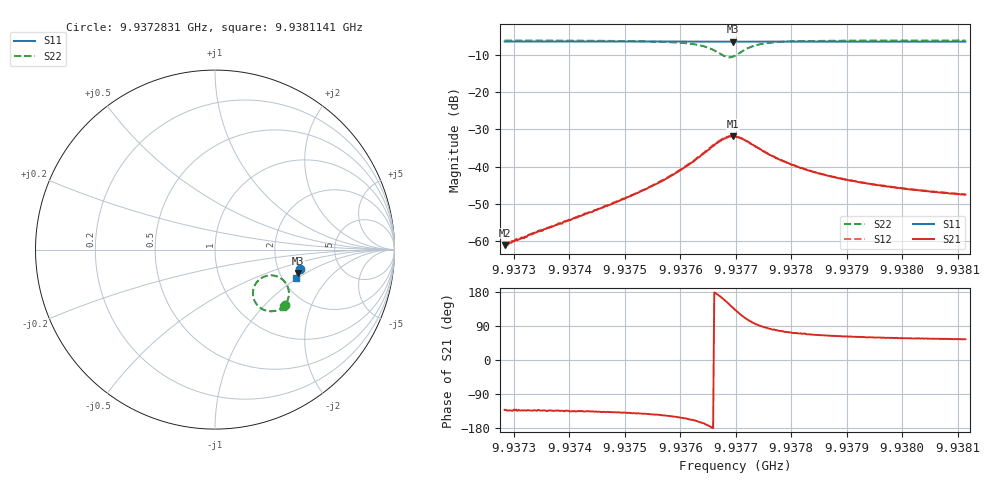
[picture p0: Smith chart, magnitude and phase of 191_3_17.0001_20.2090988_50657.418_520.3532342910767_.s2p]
#  HZ  S  RI  R  50.00
! Rohde & Schwarz Vector Network Analyzer
! Rohde-Schwarz,ZNB20-2Port,1311601062101988,3.16
! Created: UTC 3/20/2024, 11:00:40 PM
! freq[Hz]  re:S11  im:S11  re:S21  im:S21  re:S12  im:S12  re:S22  im:S22
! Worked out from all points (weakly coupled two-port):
!   401 points, 9.9372831 GHz to 9.9381141 GHz, reference 50 ohm
!   highest |S21| = -31.91 dB at 9.9376945 GHz (marker M1); lowest = -61.1 dB at 9.9372831 GHz (marker M2)
!   lowest |S11| = -6.4 dB at 9.9376945 GHz (marker M3), VSWR 2.84, Z = 125 - j42.5 ohm
!   |S11| at or under -10 dB: nowhere
!   |S22| runs from -10.6 to -6.0 dB; largest |S21 - S12| = 0.0012
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9.9372831e9  0.4719 -0.1053  -0.000585 -0.000658  -0.000569 -0.000625  0.3899 -0.3093
9.93729141e9  0.4718 -0.1061  -0.000628 -0.000678  -0.000666 -0.000695  0.3891 -0.3099
9.93734542e9  0.4707 -0.1096  -0.000901 -0.000991  -0.000952 -0.000998  0.3842 -0.3147
9.93742229e9  0.4691 -0.1148  -0.00153 -0.00156  -0.00162 -0.00154  0.3746 -0.3222
9.93750332e9  0.4672 -0.1204  -0.0029 -0.00251  -0.00297 -0.00249  0.359 -0.3318
9.93756149e9  0.4658 -0.1243  -0.00498 -0.00348  -0.00514 -0.00346  0.3382 -0.3402
9.93760512e9  0.4644 -0.1274  -0.00843 -0.00428  -0.00863 -0.00425  0.3075 -0.3436
9.9376446e9  0.4627 -0.13  -0.0152 -0.00293  -0.0157 -0.00261  0.2525 -0.3246
9.93765914e9  0.4617 -0.1308  -0.0188 -9.26e-05  -0.0194 0.000292  0.2265 -0.2965
9.93767368e9  0.4611 -0.1309  -0.0217 0.00562  -0.0221 0.00639  0.2113 -0.2461
9.93768407e9  0.4607 -0.1309  -0.0217 0.0112  -0.0218 0.0124  0.2211 -0.2008
9.93769446e9  0.4607 -0.131  -0.0189 0.0169  -0.0185 0.0179  0.2529 -0.1621
9.93769861e9  0.4607 -0.1309  -0.0171 0.0186  -0.0166 0.0194  0.2702 -0.1523
9.937709e9  0.4611 -0.1313  -0.012 0.0209  -0.0111 0.0214  0.3152 -0.1434
9.93772147e9  0.4616 -0.132  -0.00602 0.0208  -0.00537 0.0211  0.359 -0.1554
9.9377464e9  0.4617 -0.1339  0.000413 0.0167  0.00081 0.0168  0.4006 -0.1978
9.9377734e9  0.4615 -0.1361  0.0025 0.0127  0.0029 0.0126  0.4113 -0.2331
9.93779418e9  0.461 -0.1377  0.00309 0.0108  0.00327 0.0107  0.4118 -0.2513
9.93783781e9  0.4602 -0.1408  0.00333 0.00784  0.00352 0.00782  0.4073 -0.2751
9.93789598e9  0.4587 -0.1448  0.00313 0.00591  0.00329 0.00591  0.4001 -0.2929
9.93797701e9  0.4567 -0.1501  0.00282 0.00454  0.0029 0.00454  0.3913 -0.3074
9.93811413e9  0.4532 -0.1592  0.00241 0.00342  0.00249 0.00341  0.3801 -0.3221
